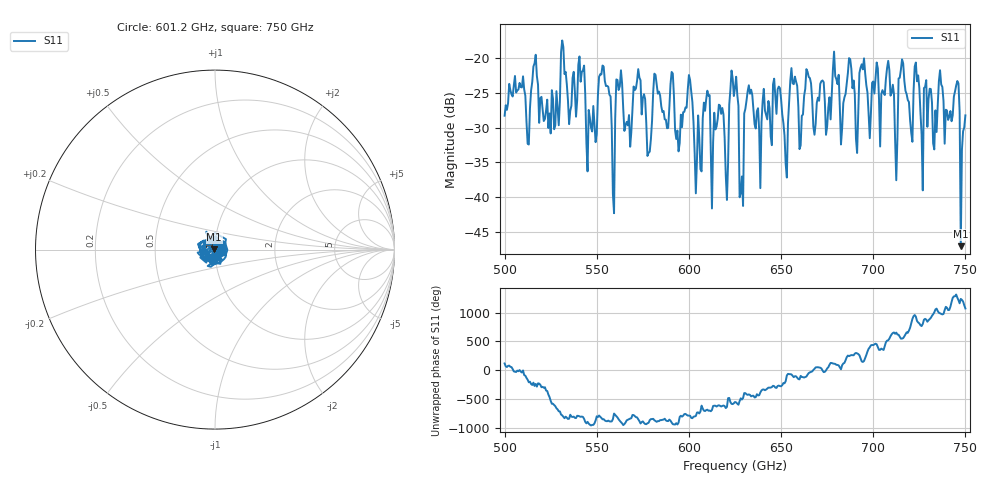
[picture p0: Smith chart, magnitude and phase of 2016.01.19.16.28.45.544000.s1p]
!Created with skrf (http://scikit-rf.org).
# GHz S RI R 50.0
!freq ReS11 ImS11
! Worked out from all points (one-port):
!   401 points, 500 GHz to 750 GHz, reference 50 ohm
!   lowest |S11| = -47.1 dB at 747.5 GHz (marker M1), VSWR 1.01, Z = 49.6 + j0.186 ohm
!   |S11| at or under -10 dB: start of sweep to end of sweep
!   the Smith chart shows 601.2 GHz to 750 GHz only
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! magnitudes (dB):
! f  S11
! 500 GHz  -28.3
! 513.1 GHz  -32.4
! 516.2 GHz  -20.8
! 528.1 GHz  -24.8
! 531.2 GHz  -17.5
! 541.9 GHz  -22.0
! 545.6 GHz  -27.5
! 553.1 GHz  -21.1
! 558.8 GHz  -39.5
! 562.5 GHz  -24.1
! 578.1 GHz  -33.6
! 590.6 GHz  -22.0
! 593.8 GHz  -30.4
! 600.6 GHz  -23.1
! 605 GHz  -28.3
! 610 GHz  -24.7
! 620 GHz  -36.9
! 625 GHz  -24.3
! 628.8 GHz  -37.0
! 632.5 GHz  -23.9
! 652.5 GHz  -35.2
! 656.2 GHz  -23.6
! 660.6 GHz  -32.6
! 687.5 GHz  -20.2
! 718.8 GHz  -26.0
! 745 GHz  -24.0
! 747.5 GHz  -47.1
! 750 GHz  -28.2
